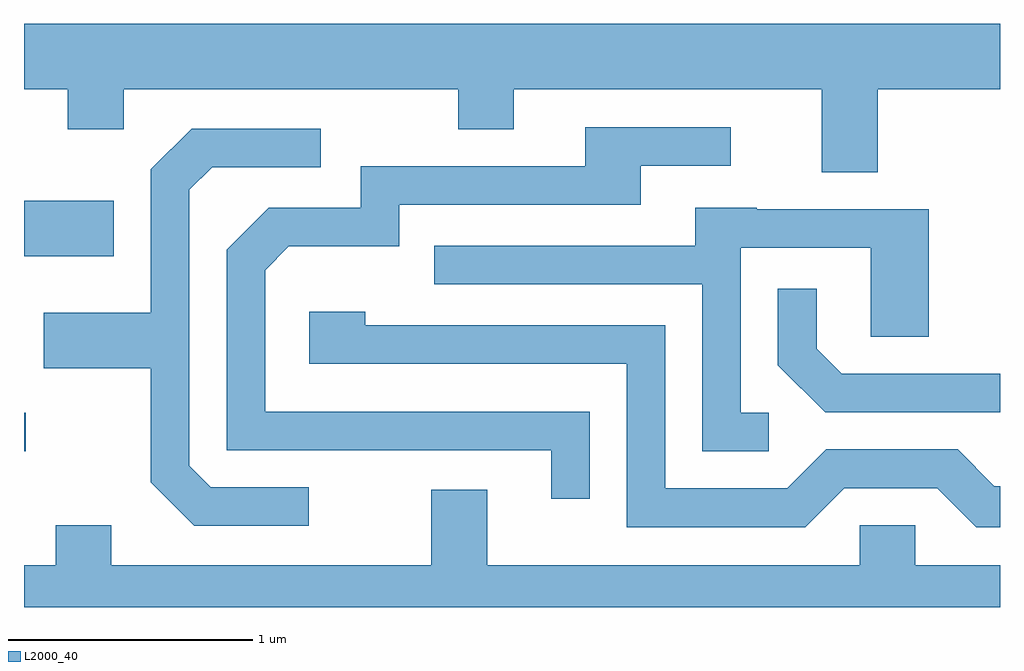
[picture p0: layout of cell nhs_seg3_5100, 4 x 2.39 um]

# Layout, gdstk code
import gdstk
lib = gdstk.Library(unit=1e-6, precision=1e-09)
def R(c, l, rs):  # rectangles x0, y0, x1, y1
    for r in rs: c.add(gdstk.rectangle(r[:2], r[2:], *l))
def P(c, l, *ps):  # polygons
    for p in ps: c.add(gdstk.Polygon(p, *l))
L2000_40 = (2000, 40)

nhs_seg3_5100 = lib.new_cell('nhs_seg3_5100')
R(nhs_seg3_5100, L2000_40, [(335.611,1124.531,335.618,1124.689), (335.611,1125.331,335.979,1125.559)])
P(nhs_seg3_5100, L2000_40, [(339.109,1126.016),(339.611,1126.016),(339.611,1126.284),(335.611,1126.284),(335.611,1126.016),(335.791,1126.016),(335.791,1125.851),(336.019,1125.851),(336.019,1126.016),(337.391,1126.016),(337.391,1125.851),(337.619,1125.851),(337.619,1126.016),(338.881,1126.016),(338.881,1125.676),(339.109,1125.676)],
  [(337.929,1124.694),(336.599,1124.694),(336.599,1125.274),(336.697,1125.371),(337.149,1125.371),(337.149,1125.541),(338.139,1125.541),(338.139,1125.701),(338.508,1125.701),(338.508,1125.859),(337.911,1125.859),(337.911,1125.699),(336.991,1125.699),(336.991,1125.529),(336.614,1125.529),(336.441,1125.357),(336.441,1124.536),(337.771,1124.536),(337.771,1124.338),(337.929,1124.338)],
  [(336.778,1124.384),(336.377,1124.384),(336.289,1124.472),(336.289,1125.604),(336.382,1125.696),(336.828,1125.696),(336.828,1125.854),(336.299,1125.854),(336.131,1125.687),(336.131,1125.099),(335.691,1125.099),(335.691,1124.871),(336.131,1124.871),(336.131,1124.404),(336.309,1124.226),(336.778,1124.226)],
  [(338.663,1124.689),(338.549,1124.689),(338.549,1125.366),(339.081,1125.366),(339.081,1125.001),(339.319,1125.001),(339.319,1125.524),(338.615,1125.524),(338.615,1125.529),(338.361,1125.529),(338.361,1125.374),(337.293,1125.374),(337.293,1125.216),(338.391,1125.216),(338.391,1124.531),(338.663,1124.531)],
  [(339.611,1124.849),(338.962,1124.849),(338.859,1124.952),(338.859,1125.198),(338.701,1125.198),(338.701,1124.884),(338.894,1124.691),(339.611,1124.691)],
  [(338.972,1124.381),(339.354,1124.381),(339.514,1124.221),(339.611,1124.221),(339.611,1124.389),(339.587,1124.389),(339.437,1124.539),(338.899,1124.539),(338.739,1124.379),(338.239,1124.379),(338.239,1125.049),(337.009,1125.049),(337.009,1125.104),(336.781,1125.104),(336.781,1124.891),(338.081,1124.891),(338.081,1124.221),(338.812,1124.221)],
  [(339.611,1124.064),(339.264,1124.064),(339.264,1124.229),(339.036,1124.229),(339.036,1124.064),(337.509,1124.064),(337.509,1124.374),(337.281,1124.374),(337.281,1124.064),(335.969,1124.064),(335.969,1124.229),(335.741,1124.229),(335.741,1124.064),(335.611,1124.064),(335.611,1123.892),(339.611,1123.892)])

lib.write_gds('nhs_seg3_5100.gds')
